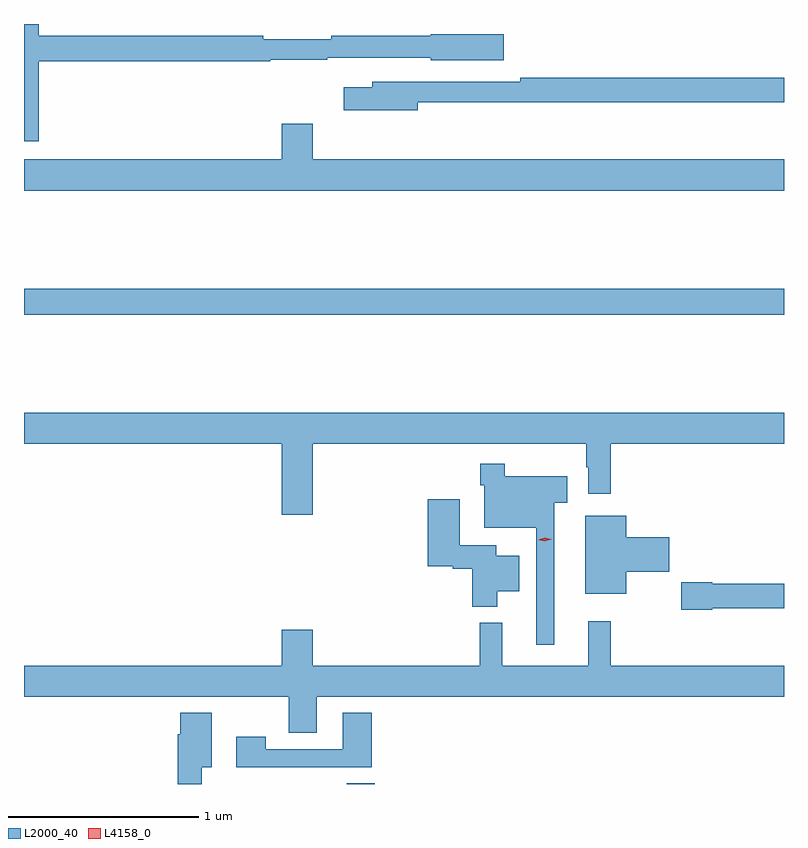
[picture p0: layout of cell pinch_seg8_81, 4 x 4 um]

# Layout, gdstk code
import gdstk
lib = gdstk.Library(unit=1e-6, precision=1e-09)
def R(c, l, rs):  # rectangles x0, y0, x1, y1
    for r in rs: c.add(gdstk.rectangle(r[:2], r[2:], *l))
def P(c, l, *ps):  # polygons
    for p in ps: c.add(gdstk.Polygon(p, *l))
L2000_40 = (2000, 40)
L4158_0 = (4158, 0)

pinch_seg8_81 = lib.new_cell('pinch_seg8_81')
R(pinch_seg8_81, L2000_40, [(1016.498,1101.389,1016.645,1101.392), (1014.8,1103.86,1018.8,1103.996)])
P(pinch_seg8_81, L2000_40, [(1014.878,1105.192),(1016.096,1105.192),(1016.096,1105.2),(1016.396,1105.2),(1016.396,1105.212),(1016.94,1105.212),(1016.94,1105.199),(1017.325,1105.199),(1017.325,1105.334),(1016.94,1105.334),(1016.94,1105.328),(1016.416,1105.328),(1016.416,1105.309),(1016.06,1105.309),(1016.06,1105.328),(1014.878,1105.328),(1014.878,1105.389),(1014.8,1105.389),(1014.8,1104.771),(1014.878,1104.771)],
  [(1016.872,1104.978),(1018.8,1104.978),(1018.8,1105.106),(1017.412,1105.106),(1017.412,1105.086),(1016.633,1105.086),(1016.633,1105.057),(1016.484,1105.057),(1016.484,1104.935),(1016.872,1104.935)],
  [(1018.8,1104.676),(1016.32,1104.676),(1016.32,1104.865),(1016.156,1104.865),(1016.156,1104.676),(1014.8,1104.676),(1014.8,1104.512),(1018.8,1104.512)],
  [(1016.32,1103.18),(1017.759,1103.18),(1017.759,1103.057),(1017.771,1103.057),(1017.771,1102.917),(1017.887,1102.917),(1017.887,1103.18),(1018.8,1103.18),(1018.8,1103.344),(1014.8,1103.344),(1014.8,1103.18),(1016.156,1103.18),(1016.156,1102.806),(1016.32,1102.806)],
  [(1017.592,1102.868),(1017.658,1102.868),(1017.658,1103.008),(1017.331,1103.008),(1017.331,1103.074),(1017.202,1103.074),(1017.202,1102.961),(1017.222,1102.961),(1017.222,1102.739),(1017.495,1102.739),(1017.495,1102.122),(1017.592,1102.122)],
  [(1017.292,1102.403),(1017.406,1102.403),(1017.406,1102.591),(1017.286,1102.591),(1017.286,1102.645),(1017.094,1102.645),(1017.094,1102.888),(1016.924,1102.888),(1016.924,1102.535),(1017.057,1102.535),(1017.057,1102.523),(1017.158,1102.523),(1017.158,1102.322),(1017.292,1102.322)],
  [(1017.97,1102.505),(1018.195,1102.505),(1018.195,1102.688),(1017.97,1102.688),(1017.97,1102.801),(1017.755,1102.801),(1017.755,1102.391),(1017.97,1102.391)],
  [(1018.422,1102.314),(1018.8,1102.314),(1018.8,1102.442),(1018.422,1102.442),(1018.422,1102.45),(1018.26,1102.45),(1018.26,1102.306),(1018.422,1102.306)],
  [(1016.341,1101.848),(1018.8,1101.848),(1018.8,1102.012),(1017.887,1102.012),(1017.887,1102.246),(1017.77,1102.246),(1017.77,1102.012),(1017.317,1102.012),(1017.317,1102.237),(1017.199,1102.237),(1017.199,1102.012),(1016.32,1102.012),(1016.32,1102.201),(1016.156,1102.201),(1016.156,1102.012),(1014.8,1102.012),(1014.8,1101.848),(1016.194,1101.848),(1016.194,1101.658),(1016.341,1101.658)],
  [(1016.63,1101.763),(1016.477,1101.763),(1016.477,1101.573),(1016.073,1101.573),(1016.073,1101.637),(1015.917,1101.637),(1015.917,1101.477),(1016.63,1101.477)],
  [(1015.735,1101.476),(1015.789,1101.476),(1015.789,1101.763),(1015.622,1101.763),(1015.622,1101.65),(1015.61,1101.65),(1015.61,1101.389),(1015.735,1101.389)])
P(pinch_seg8_81, L4158_0, [(1017.542,1102.666),(1017.506,1102.674),(1017.506,1102.674),(1017.506,1102.674),(1017.541,1102.686),(1017.576,1102.678),(1017.577,1102.678),(1017.576,1102.677)])

lib.write_gds('pinch_seg8_81.gds')
